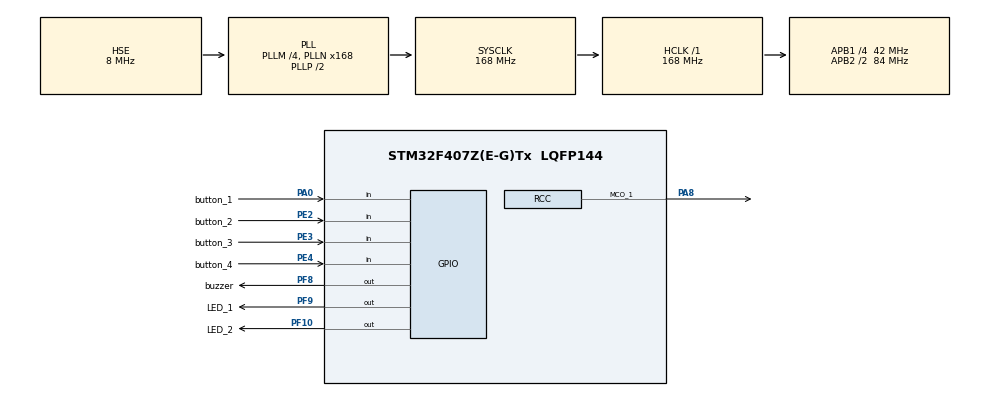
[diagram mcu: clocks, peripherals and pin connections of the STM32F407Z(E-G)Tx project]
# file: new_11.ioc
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Mcu.Family=STM32F4
Mcu.Name=STM32F407Z(E-G)Tx
Mcu.Package=LQFP144
NVIC.PriorityGroup=NVIC_PRIORITYGROUP_4
PA0-WKUP.GPIO_Label=button_1
PA0-WKUP.GPIO_PuPd=GPIO_PULLDOWN
PA0-WKUP.Signal=GPIO_Input
PA13.Mode=Serial_Wire
PA13.Signal=SYS_JTMS-SWDIO
PA14.Mode=Serial_Wire
PA14.Signal=SYS_JTCK-SWCLK
PA8.Mode=Clock-out-1
PA8.Signal=RCC_MCO_1
PE2.GPIO_Label=button_2
PE2.GPIO_PuPd=GPIO_PULLUP
PE2.Signal=GPIO_Input
PE3.GPIO_Label=button_3
PE3.GPIO_PuPd=GPIO_PULLUP
PE3.Signal=GPIO_Input
PE4.GPIO_Label=button_4
PE4.GPIO_PuPd=GPIO_PULLUP
PE4.Signal=GPIO_Input
PF10.GPIO_Label=LED_2
PF10.GPIO_PuPd=GPIO_PULLUP
PF10.GPIO_Speed=GPIO_SPEED_FREQ_VERY_HIGH
PF10.Signal=GPIO_Output
PF8.GPIO_Label=buzzer
PF8.GPIO_Speed=GPIO_SPEED_FREQ_VERY_HIGH
PF8.PinState=GPIO_PIN_SET
PF8.Signal=GPIO_Output
PF9.GPIO_Label=LED_1
PF9.GPIO_PuPd=GPIO_PULLUP
PF9.GPIO_Speed=GPIO_SPEED_FREQ_VERY_HIGH
PF9.Signal=GPIO_Output
PH0-OSC_IN.Mode=HSE-External-Oscillator
PH0-OSC_IN.Signal=RCC_OSC_IN
PH1-OSC_OUT.Mode=HSE-External-Oscillator
PH1-OSC_OUT.Signal=RCC_OSC_OUT
ProjectManager.HeapSize=0x200
ProjectManager.StackSize=0x400
ProjectManager.TargetToolchain=STM32CubeIDE
RCC.48MHZClocksFreq_Value=84000000
RCC.AHBFreq_Value=168000000
RCC.APB1CLKDivider=RCC_HCLK_DIV4
RCC.APB1Freq_Value=42000000
RCC.APB1TimFreq_Value=84000000
RCC.APB2CLKDivider=RCC_HCLK_DIV2
RCC.APB2Freq_Value=84000000
RCC.APB2TimFreq_Value=168000000
RCC.CortexFreq_Value=168000000
RCC.HCLKFreq_Value=168000000
RCC.HSE_VALUE=8000000
RCC.HSI_VALUE=16000000
RCC.LSE_VALUE=32768
RCC.PLLM=4
RCC.PLLN=168
RCC.PLLSourceVirtual=RCC_PLLSOURCE_HSE
RCC.SYSCLKFreq_VALUE=168000000
RCC.SYSCLKSource=RCC_SYSCLKSOURCE_PLLCLK
RCC.VCOOutputFreq_Value=336000000
board=custom

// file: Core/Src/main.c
/* USER CODE BEGIN Header */
/**
  ******************************************************************************
  * @file           : main.c
  * @brief          : Main program body
  ******************************************************************************
  * @attention
  *
  * Copyright (c) 2024 STMicroelectronics.
  * All rights reserved.
  *
  * This software is licensed under terms that can be found in the LICENSE file
  * in the root directory of this software component.
  * If no LICENSE file comes with this software, it is provided AS-IS.
  *
  ******************************************************************************
  */
/* USER CODE END Header */
#include "main.h"
#include "gpio.h"

/* USER CODE BEGIN Includes */
#include "button_LED.h"
/* USER CODE END Includes */

void SystemClock_Config(void);

int main(void)
{

  /* MCU Configuration--------------------------------------------------------*/

  /* Reset of all peripherals, Initializes the Flash interface and the Systick. */
  HAL_Init();

  /* Configure the system clock */
  SystemClock_Config();

  /* Initialize all configured peripherals */
  MX_GPIO_Init();

  /* Infinite loop */
  /* USER CODE BEGIN WHILE */
  while (1)
  {
    switch (which_button_pressed(ALW_WAIT_BUTTON))
    {
      case BUTTON_1:
        LED_1_toggle();
        break;
      case BUTTON_2:
        LED_2_toggle();
        break;
      case BUTTON_3:
        LED_1_toggle();
        LED_2_toggle();
        break;
      case BUTTON_4:
        buzzer_toggle();
        break;
      default:
        break;
    }
    HAL_Delay (20);
    /* USER CODE END WHILE */

  }
}

void SystemClock_Config(void)
{
  RCC_OscInitTypeDef RCC_OscInitStruct = {0};
  RCC_ClkInitTypeDef RCC_ClkInitStruct = {0};

  /** Configure the main internal regulator output voltage
  */
  __HAL_RCC_PWR_CLK_ENABLE();
  __HAL_PWR_VOLTAGESCALING_CONFIG(PWR_REGULATOR_VOLTAGE_SCALE1);

  /** Initializes the RCC Oscillators according to the specified parameters
  * in the RCC_OscInitTypeDef structure.
  */
  RCC_OscInitStruct.OscillatorType = RCC_OSCILLATORTYPE_HSI|RCC_OSCILLATORTYPE_HSE;
  RCC_OscInitStruct.HSEState = RCC_HSE_ON;
  RCC_OscInitStruct.HSIState = RCC_HSI_ON;
  RCC_OscInitStruct.HSICalibrationValue = RCC_HSICALIBRATION_DEFAULT;
  RCC_OscInitStruct.PLL.PLLState = RCC_PLL_ON;
  RCC_OscInitStruct.PLL.PLLSource = RCC_PLLSOURCE_HSE;
  RCC_OscInitStruct.PLL.PLLM = 4;
  RCC_OscInitStruct.PLL.PLLN = 168;
  RCC_OscInitStruct.PLL.PLLP = RCC_PLLP_DIV2;
  RCC_OscInitStruct.PLL.PLLQ = 4;
  if (HAL_RCC_OscConfig(&RCC_OscInitStruct) != HAL_OK)
  {
    Error_Handler();
  }

  /** Initializes the CPU, AHB and APB buses clocks
  */
  RCC_ClkInitStruct.ClockType = RCC_CLOCKTYPE_HCLK|RCC_CLOCKTYPE_SYSCLK
                              |RCC_CLOCKTYPE_PCLK1|RCC_CLOCKTYPE_PCLK2;
  RCC_ClkInitStruct.SYSCLKSource = RCC_SYSCLKSOURCE_PLLCLK;
  RCC_ClkInitStruct.AHBCLKDivider = RCC_SYSCLK_DIV1;
  RCC_ClkInitStruct.APB1CLKDivider = RCC_HCLK_DIV4;
  RCC_ClkInitStruct.APB2CLKDivider = RCC_HCLK_DIV2;

  if (HAL_RCC_ClockConfig(&RCC_ClkInitStruct, FLASH_LATENCY_5) != HAL_OK)
  {
    Error_Handler();
  }
  HAL_RCC_MCOConfig(RCC_MCO1, RCC_MCO1SOURCE_HSI, RCC_MCODIV_1);
}

void Error_Handler(void)
{
  __disable_irq();
  while (1)
  {
  }
}
